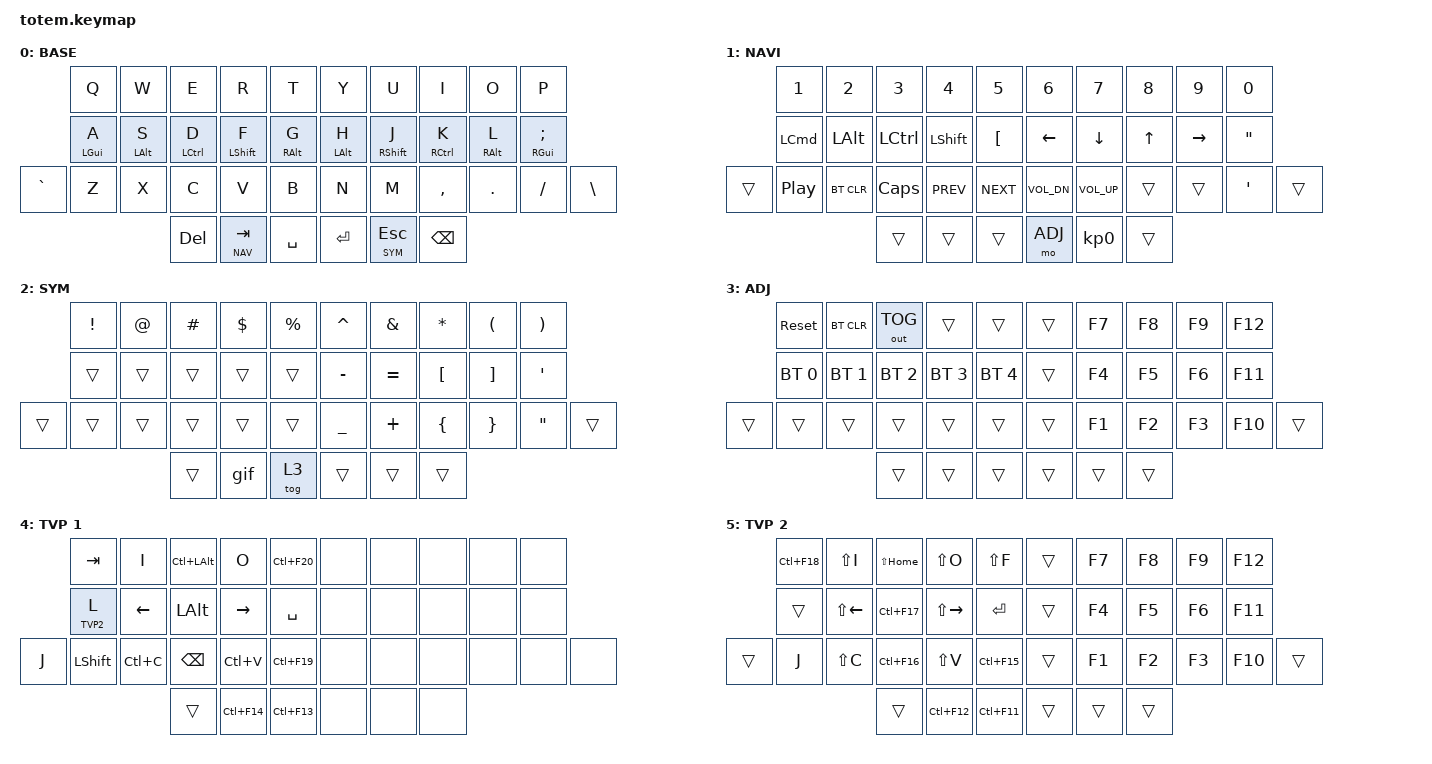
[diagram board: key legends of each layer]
//
//                                                        ▀▀▀▀▀     ▀▀▀▀▀          ▀▀█▀▀
//                                                        ▄▀▀▀▄  ▄  ▄▀▀▀▄  ▄  ▄▀▀▀▄  █  ▄▀▀▀▄
//                                                        █   █  █  █   █  █  █   █  █  █   █
//                                                         ▀▀▀   █   ▀▀▀   █   ▀▀▀   ▀   ▀▀▀
//                                                               █      ▄▄▄█▄▄▄    █   █  
//                                                               ▀      █  █  █     █▄█
//                                                             ▀▀▀▀▀    █  █  █      ▀
//                                                                      ▀  ▀  ▀
//
// ▄▄▄▄▄▄▄▄▄▄▄▄▄▄▄▄▄▄▄▄▄▄▄▄▄▄▄▄▄▄▄▄▄▄▄▄▄▄▄▄▄▄▄▄▄▄▄▄▄▄▄▄▄▄▄▄▄▄▄▄▄▄▄▄▄▄▄▄▄▄▄▄▄▄▄▄▄▄▄▄▄▄▄▄▄▄▄▄▄▄▄▄▄▄▄▄▄▄▄▄▄▄▄▄▄▄▄▄▄▄▄▄▄▄▄▄▄▄▄▄▄▄▄▄▄▄▄▄▄▄▄▄▄▄▄▄▄▄▄▄▄▄▄▄▄▄▄▄▄

#include <behaviors.dtsi>
#include <dt-bindings/zmk/bt.h>
#include <dt-bindings/zmk/keys.h>
#include <dt-bindings/zmk/outputs.h>

#define BASE 0
#define NAV  1
#define SYM  2
#define ADJ  3
#define TVP1 4
#define TVP2 5

&mt {
    quick-tap-ms = <0>;
    global-quick-tap;
    flavor = "tap-preferred";
    tapping-term-ms = <250>;
};

/ {
    combos {
        compatible = "zmk,combos";

        combo_esc {
            timeout-ms = <50>;
            key-positions = <0 1>;
            bindings = <&kp ESC>;
        };

        tvp {
            timeout-ms = <100>;
            key-positions = <11 12 13>;
            bindings = <&tog TVP1>;
        };

        tvp2 {
            bindings = <&tog 5>;
            key-positions = <16 17 18>;
            timeout-ms = <100>;
        };
    };

    macros {
        gif: gif {
            label = "giphy";
            compatible = "zmk,behavior-macro";
            #binding-cells = <0>;
            bindings =
                <&macro_press>,
                <&kp LSHFT>,
                <&macro_tap>,
                <&kp N2>,
                <&macro_release>,
                <&kp LSHFT>,
                <&macro_tap>,
                <&kp G &kp I &kp F>;
        };
    };

    keymap {
        compatible = "zmk,keymap";

        // ▄▄▄▄▄▄▄▄▄▄▄▄▄▄▄▄▄▄▄▄▄▄▄▄▄▄▄▄▄▄▄▄▄▄▄▄▄▄▄▄▄▄▄▄▄▄▄▄▄▄▄▄▄▄▄▄▄▄▄▄▄▄▄▄▄▄▄▄▄▄▄▄▄▄▄▄▄▄▄▄▄▄▄▄▄▄▄▄▄▄▄▄▄▄▄▄▄▄▄▄▄▄▄▄▄▄▄▄▄▄▄▄▄▄▄▄▄▄▄▄▄▄▄▄▄▄▄▄▄▄▄▄▄▄▄▄▄▄▄▄▄▄▄▄▄▄▄▄▄

        base_layer {
            // ┏━━━━━━━━━━━━━━━━━━━━━━━━━━━━━━━━━━━━━━━┓

            label = "BASE";

            // ┗━━━━━━━━━━━━━━━━━━━━━━━━━━━━━━━━━━━━━━━┛
            //             ┏━━━━━━━━━━━┳━━━━━━━━━━━┳━━━━━━━━━━━┳━━━━━━━━━━━┳━━━━━━━━━━━┓   ┏━━━━━━━━━━━┳━━━━━━━━━━━┳━━━━━━━━━━━┳━━━━━━━━━━━┳━━━━━━━━━━━┓
            //             ┃     Q     ┃     W     ┃     E     ┃     R     ┃     T     ┃   ┃     Y     ┃     U     ┃     I     ┃     O     ┃     P     ┃
            //             ┣━━━━━━━━━━━╋━━━━━━━━━━━╋━━━━━━━━━━━╋━━━━━━━━━━━╋━━━━━━━━━━━┫   ┣━━━━━━━━━━━╋━━━━━━━━━━━╋━━━━━━━━━━━╋━━━━━━━━━━━╋━━━━━━━━━━━┫
            //             ┃     A     ┃     s     ┃     D     ┃     F     ┃     G     ┃   ┃     H     ┃     J     ┃     K     ┃     L     ┃     ;     ┃
            // ┏━━━━━━━━━━━╋━━━━━━━━━━━╋━━━━━━━━━━━╋━━━━━━━━━━━╋━━━━━━━━━━━╋━━━━━━━━━━━┫   ┣━━━━━━━━━━━╋━━━━━━━━━━━╋━━━━━━━━━━━╋━━━━━━━━━━━╋━━━━━━━━━━━╋━━━━━━━━━━━┓
            // ┃     Q     ┃     Z     ┃     X     ┃     C     ┃     V     ┃     B     ┃   ┃     N     ┃     M     ┃     ,     ┃     .     ┃     /     ┃     \     ┃
            // ┗━━━━━━━━━━━┻━━━━━━━━━━━┻━━━━━━━━━━━╋━━━━━━━━━━━╋━━━━━━━━━━━╋━━━━━━━━━━━┫   ┣━━━━━━━━━━━╋━━━━━━━━━━━╋━━━━━━━━━━━╋━━━━━━━━━━━┻━━━━━━━━━━━┻━━━━━━━━━━━┛
            //                                     ┃    DEL    ┃    TAB    ┃    SPC    ┃   ┃   ENTER   ┃           ┃   BSPC    ┃
            //                                     ┗━━━━━━━━━━━┻━━━━━━━━━━━┻━━━━━━━━━━━┛   ┗━━━━━━━━━━━┻━━━━━━━━━━━┻━━━━━━━━━━━┛

            bindings = <
           &kp Q       &kp W       &kp E        &kp R        &kp T              &kp Y           &kp U        &kp I        &kp O       &kp P
           &mt LGUI A  &mt LALT S  &mt LCTRL D  &mt LSHFT F  &mt RIGHT_ALT G    &mt LEFT_ALT H  &mt RSHFT J  &mt RCTRL K  &mt RALT L  &mt RGUI SEMI
&kp GRAVE  &kp Z       &kp X       &kp C        &kp V        &kp B              &kp N           &kp M        &kp COMMA    &kp DOT     &kp FSLH       &kp BSLH
                                   &kp DEL      &lt NAV TAB  &kp SPACE          &kp RET         &lt SYM ESC  &kp BSPC
            >;
        };

        // ▄▄▄▄▄▄▄▄▄▄▄▄▄▄▄▄▄▄▄▄▄▄▄▄▄▄▄▄▄▄▄▄▄▄▄▄▄▄▄▄▄▄▄▄▄▄▄▄▄▄▄▄▄▄▄▄▄▄▄▄▄▄▄▄▄▄▄▄▄▄▄▄▄▄▄▄▄▄▄▄▄▄▄▄▄▄▄▄▄▄▄▄▄▄▄▄▄▄▄▄▄▄▄▄▄▄▄▄▄▄▄▄▄▄▄▄▄▄▄▄▄▄▄▄▄▄▄▄▄▄▄▄▄▄▄▄▄▄▄▄▄▄▄▄▄▄▄▄▄

        nav_layer {
            // ┏━━━━━━━━━━━━━━━━━━━━━━━━━━━━━━━━━━━━━━━┓

            label = "NAVI";

            // ┗━━━━━━━━━━━━━━━━━━━━━━━━━━━━━━━━━━━━━━━┛
            //             ┏━━━━━━━━━━━┳━━━━━━━━━━━┳━━━━━━━━━━━┳━━━━━━━━━━━┳━━━━━━━━━━━┓   ┏━━━━━━━━━━━┳━━━━━━━━━━━┳━━━━━━━━━━━┳━━━━━━━━━━━┳━━━━━━━━━━━┓
            //             ┃    ESC    ┃     _     ┃     UP    ┃     =     ┃     {     ┃   ┃     }     ┃     7     ┃     8     ┃     9     ┃     +     ┃
            //             ┣━━━━━━━━━━━╋━━━━━━━━━━━╋━━━━━━━━━━━╋━━━━━━━━━━━╋━━━━━━━━━━━┫   ┣━━━━━━━━━━━╋━━━━━━━━━━━╋━━━━━━━━━━━╋━━━━━━━━━━━╋━━━━━━━━━━━┫
            //             ┃   SHIFT   ┃   LEFT    ┃    DOWN   ┃   RIGHT   ┃     [     ┃   ┃     ]     ┃     4     ┃     5     ┃     6     ┃     -     ┃
            // ┏━━━━━━━━━━━╋━━━━━━━━━━━╋━━━━━━━━━━━╋━━━━━━━━━━━╋━━━━━━━━━━━╋━━━━━━━━━━━┫   ┣━━━━━━━━━━━╋━━━━━━━━━━━╋━━━━━━━━━━━╋━━━━━━━━━━━╋━━━━━━━━━━━╋━━━━━━━━━━━┓
            // ┃           ┃    DEL    ┃   P UP    ┃  C LOCK   ┃  P DOWN   ┃     (     ┃   ┃     )     ┃     1     ┃     2     ┃     3     ┃     *     ┃           ┃
            // ┗━━━━━━━━━━━┻━━━━━━━━━━━┻━━━━━━━━━━━╋━━━━━━━━━━━╋━━━━━━━━━━━╋━━━━━━━━━━━┫   ┣━━━━━━━━━━━╋━━━━━━━━━━━╋━━━━━━━━━━━╋━━━━━━━━━━━┻━━━━━━━━━━━┻━━━━━━━━━━━┛
            //                                     ┃           ┃    TAB    ┃    SPC    ┃   ┃    DEL    ┃     0     ┃           ┃
            //                                     ┗━━━━━━━━━━━┻━━━━━━━━━━━┻━━━━━━━━━━━┛   ┗━━━━━━━━━━━┻━━━━━━━━━━━┻━━━━━━━━━━━┛

            bindings = <
        &kp N1    &kp N2      &kp N3     &kp N4      &kp N5        &kp N6        &kp N7        &kp N8  &kp N9     &kp N0
        &kp LCMD  &kp LALT    &kp LCTRL  &kp LSHFT   &kp LBKT      &kp LEFT      &kp DOWN      &kp UP  &kp RIGHT  &kp DQT
&trans  &kp C_PP  &bt BT_CLR  &kp CAPS   &kp C_PREV  &kp C_NEXT    &kp C_VOL_DN  &kp C_VOL_UP  &trans  &trans     &kp APOS  &trans
                              &trans     &trans      &trans        &mo ADJ       &kp KP_N0     &trans
            >;
        };

        // ▄▄▄▄▄▄▄▄▄▄▄▄▄▄▄▄▄▄▄▄▄▄▄▄▄▄▄▄▄▄▄▄▄▄▄▄▄▄▄▄▄▄▄▄▄▄▄▄▄▄▄▄▄▄▄▄▄▄▄▄▄▄▄▄▄▄▄▄▄▄▄▄▄▄▄▄▄▄▄▄▄▄▄▄▄▄▄▄▄▄▄▄▄▄▄▄▄▄▄▄▄▄▄▄▄▄▄▄▄▄▄▄▄▄▄▄▄▄▄▄▄▄▄▄▄▄▄▄▄▄▄▄▄▄▄▄▄▄▄▄▄▄▄▄▄▄▄▄▄

        sim_layer {
            // ┏━━━━━━━━━━━━━━━━━━━━━━━━━━━━━━━━━━━━━━━┓

            label = "SYM";

            // ┗━━━━━━━━━━━━━━━━━━━━━━━━━━━━━━━━━━━━━━━┛
            //             ┏━━━━━━━━━━━┳━━━━━━━━━━━┳━━━━━━━━━━━┳━━━━━━━━━━━┳━━━━━━━━━━━┓   ┏━━━━━━━━━━━┳━━━━━━━━━━━┳━━━━━━━━━━━┳━━━━━━━━━━━┳━━━━━━━━━━━┓
            //             ┃     !     ┃     @     ┃     #     ┃     $     ┃     %     ┃   ┃     ˆ     ┃     &     ┃     Ü     ┃     '     ┃     "     ┃
            //             ┣━━━━━━━━━━━╋━━━━━━━━━━━╋━━━━━━━━━━━╋━━━━━━━━━━━╋━━━━━━━━━━━┫   ┣━━━━━━━━━━━╋━━━━━━━━━━━╋━━━━━━━━━━━╋━━━━━━━━━━━╋━━━━━━━━━━━┫
            //             ┃     Ä     ┃           ┃    SZ     ┃           ┃           ┃   ┃   MUTE    ┃   YEN     ┃   EURO    ┃  POUND    ┃     Ö     ┃
            // ┏━━━━━━━━━━━╋━━━━━━━━━━━╋━━━━━━━━━━━╋━━━━━━━━━━━╋━━━━━━━━━━━╋━━━━━━━━━━━┫   ┣━━━━━━━━━━━╋━━━━━━━━━━━╋━━━━━━━━━━━╋━━━━━━━━━━━╋━━━━━━━━━━━╋━━━━━━━━━━━┓
            // ┃           ┃  EMAIL1   ┃  EMAIL2   ┃           ┃           ┃           ┃   ┃   VOL-    ┃   VOL+    ┃   LAST    ┃   NEXT    ┃     \     ┃           ┃
            // ┗━━━━━━━━━━━┻━━━━━━━━━━━┻━━━━━━━━━━━╋━━━━━━━━━━━╋━━━━━━━━━━━╋━━━━━━━━━━━┫   ┣━━━━━━━━━━━╋━━━━━━━━━━━╋━━━━━━━━━━━╋━━━━━━━━━━━┻━━━━━━━━━━━┻━━━━━━━━━━━┛
            //                                     ┃           ┃    GIF    ┃    ADJ    ┃   ┃           ┃           ┃           ┃
            //                                     ┗━━━━━━━━━━━┻━━━━━━━━━━━┻━━━━━━━━━━━┛   ┗━━━━━━━━━━━┻━━━━━━━━━━━┻━━━━━━━━━━━┛

            bindings = <
        &kp EXCL  &kp AT  &kp HASH  &kp DLLR  &kp PRCNT    &kp CARET  &kp AMPS   &kp ASTRK  &kp LPAR  &kp RPAR
        &trans    &trans  &trans    &trans    &trans       &kp MINUS  &kp EQUAL  &kp LBKT   &kp RBKT  &kp SQT
&trans  &trans    &trans  &trans    &trans    &trans       &kp UNDER  &kp PLUS   &kp LBRC   &kp RBRC  &kp DQT   &trans
                          &trans    &gif      &tog 3       &trans     &trans     &trans
            >;
        };

        // ▄▄▄▄▄▄▄▄▄▄▄▄▄▄▄▄▄▄▄▄▄▄▄▄▄▄▄▄▄▄▄▄▄▄▄▄▄▄▄▄▄▄▄▄▄▄▄▄▄▄▄▄▄▄▄▄▄▄▄▄▄▄▄▄▄▄▄▄▄▄▄▄▄▄▄▄▄▄▄▄▄▄▄▄▄▄▄▄▄▄▄▄▄▄▄▄▄▄▄▄▄▄▄▄▄▄▄▄▄▄▄▄▄▄▄▄▄▄▄▄▄▄▄▄▄▄▄▄▄▄▄▄▄▄▄▄▄▄▄▄▄▄▄▄▄▄▄▄▄

        adjust_layer {
            // ┏━━━━━━━━━━━━━━━━━━━━━━━━━━━━━━━━━━━━━━━┓

            label = "ADJ";

            // ┗━━━━━━━━━━━━━━━━━━━━━━━━━━━━━━━━━━━━━━━┛
            //             ┏━━━━━━━━━━━┳━━━━━━━━━━━┳━━━━━━━━━━━┳━━━━━━━━━━━┳━━━━━━━━━━━┓   ┏━━━━━━━━━━━┳━━━━━━━━━━━┳━━━━━━━━━━━┳━━━━━━━━━━━┳━━━━━━━━━━━┓
            //             ┃   RESET   ┃ BT CLEAR  ┃  OUT TOG  ┃           ┃           ┃   ┃           ┃    F7     ┃    F8     ┃    F9     ┃    F12    ┃
            //             ┣━━━━━━━━━━━╋━━━━━━━━━━━╋━━━━━━━━━━━╋━━━━━━━━━━━╋━━━━━━━━━━━┫   ┣━━━━━━━━━━━╋━━━━━━━━━━━╋━━━━━━━━━━━╋━━━━━━━━━━━╋━━━━━━━━━━━┫
            //             ┃ BOOTLOAD  ┃ BT NEXT   ┃           ┃           ┃           ┃   ┃           ┃    F4     ┃    F5     ┃    F6     ┃    F11    ┃
            // ┏━━━━━━━━━━━╋━━━━━━━━━━━╋━━━━━━━━━━━╋━━━━━━━━━━━╋━━━━━━━━━━━╋━━━━━━━━━━━┫   ┣━━━━━━━━━━━╋━━━━━━━━━━━╋━━━━━━━━━━━╋━━━━━━━━━━━╋━━━━━━━━━━━╋━━━━━━━━━━━┓
            // ┃           ┃           ┃ BT PREV   ┃           ┃           ┃           ┃   ┃           ┃    F1     ┃    F2     ┃    F3     ┃    F10    ┃           ┃
            // ┗━━━━━━━━━━━┻━━━━━━━━━━━┻━━━━━━━━━━━╋━━━━━━━━━━━╋━━━━━━━━━━━╋━━━━━━━━━━━┫   ┣━━━━━━━━━━━╋━━━━━━━━━━━╋━━━━━━━━━━━╋━━━━━━━━━━━┻━━━━━━━━━━━┻━━━━━━━━━━━┛
            //                                     ┃           ┃           ┃           ┃   ┃           ┃           ┃           ┃
            //                                     ┗━━━━━━━━━━━┻━━━━━━━━━━━┻━━━━━━━━━━━┛   ┗━━━━━━━━━━━┻━━━━━━━━━━━┻━━━━━━━━━━━┛

            bindings = <
        &sys_reset    &bt BT_CLR    &out OUT_TOG  &trans        &trans          &trans  &kp F7  &kp F8  &kp F9  &kp F12
        &bt BT_SEL 0  &bt BT_SEL 1  &bt BT_SEL 2  &bt BT_SEL 3  &bt BT_SEL 4    &trans  &kp F4  &kp F5  &kp F6  &kp F11
&trans  &trans        &trans        &trans        &trans        &trans          &trans  &kp F1  &kp F2  &kp F3  &kp F10  &trans
                                    &trans        &trans        &trans          &trans  &trans  &trans
            >;
        };

        // ▄▄▄▄▄▄▄▄▄▄▄▄▄▄▄▄▄▄▄▄▄▄▄▄▄▄▄▄▄▄▄▄▄▄▄▄▄▄▄▄▄▄▄▄▄▄▄▄▄▄▄▄▄▄▄▄▄▄▄▄▄▄▄▄▄▄▄▄▄▄▄▄▄▄▄▄▄▄▄▄▄▄▄▄▄▄▄▄▄▄▄▄▄▄▄▄▄▄▄▄▄▄▄▄▄▄▄▄▄▄▄▄▄▄▄▄▄▄▄▄▄▄▄▄▄▄▄▄▄▄▄▄▄▄▄▄▄▄▄▄▄▄▄▄▄▄▄▄▄

        tvp1_layer {
            // ┏━━━━━━━━━━━━━━━━━━━━━━━━━━━━━━━━━━━━━━━┓

            label = "TVP 1";

            // ┗━━━━━━━━━━━━━━━━━━━━━━━━━━━━━━━━━━━━━━━┛
            //             ┏━━━━━━━━━━━┳━━━━━━━━━━━┳━━━━━━━━━━━┳━━━━━━━━━━━┳━━━━━━━━━━━┓   ┏━━━━━━━━━━━┳━━━━━━━━━━━┳━━━━━━━━━━━┳━━━━━━━━━━━┳━━━━━━━━━━━┓
            //             ┃ NEXT FILE ┃ MARK IN   ┃ ROTATE    ┃ MARK OUT  ┃ SHOW SNAP ┃   ┃           ┃           ┃           ┃           ┃           ┃
            //             ┣━━━━━━━━━━━╋━━━━━━━━━━━╋━━━━━━━━━━━╋━━━━━━━━━━━╋━━━━━━━━━━━┫   ┣━━━━━━━━━━━╋━━━━━━━━━━━╋━━━━━━━━━━━╋━━━━━━━━━━━╋━━━━━━━━━━━┫
            //             ┃ TVP II    ┃ LEFT      ┃ PAN       ┃ RIGHT     ┃ PLAY/FLIP ┃   ┃           ┃           ┃           ┃           ┃           ┃
            // ┏━━━━━━━━━━━╋━━━━━━━━━━━╋━━━━━━━━━━━╋━━━━━━━━━━━╋━━━━━━━━━━━╋━━━━━━━━━━━┫   ┣━━━━━━━━━━━╋━━━━━━━━━━━╋━━━━━━━━━━━╋━━━━━━━━━━━╋━━━━━━━━━━━╋━━━━━━━━━━━┓
            // ┃ FULLSCR   ┃ SHIFT     ┃ COPY      ┃ DELETE    ┃ PASTE     ┃ IMG MARK  ┃   ┃           ┃           ┃           ┃           ┃           ┃           ┃
            // ┗━━━━━━━━━━━┻━━━━━━━━━━━┻━━━━━━━━━━━╋━━━━━━━━━━━╋━━━━━━━━━━━╋━━━━━━━━━━━┫   ┣━━━━━━━━━━━╋━━━━━━━━━━━╋━━━━━━━━━━━╋━━━━━━━━━━━┻━━━━━━━━━━━┻━━━━━━━━━━━┛
            //                                     ┃           ┃ UNDO/SAVE ┃  SEL/MOV  ┃   ┃           ┃           ┃           ┃
            //                                     ┗━━━━━━━━━━━┻━━━━━━━━━━━┻━━━━━━━━━━━┛   ┗━━━━━━━━━━━┻━━━━━━━━━━━┻━━━━━━━━━━━┛

            bindings = <
       &kp TAB     &kp I      &kp LC(LALT)  &kp O        &kp LC(F20)    &none  &none  &none  &none  &none
       &lt TVP2 L  &kp LEFT   &kp LALT      &kp RIGHT    &kp SPACE      &none  &none  &none  &none  &none
&kp J  &kp LSHFT   &kp LC(C)  &kp BSPC      &kp LC(V)    &kp LC(F19)    &none  &none  &none  &none  &none  &none
                              &trans        &kp LC(F14)  &kp LC(F13)    &none  &none  &none
            >;
        };

        // ▄▄▄▄▄▄▄▄▄▄▄▄▄▄▄▄▄▄▄▄▄▄▄▄▄▄▄▄▄▄▄▄▄▄▄▄▄▄▄▄▄▄▄▄▄▄▄▄▄▄▄▄▄▄▄▄▄▄▄▄▄▄▄▄▄▄▄▄▄▄▄▄▄▄▄▄▄▄▄▄▄▄▄▄▄▄▄▄▄▄▄▄▄▄▄▄▄▄▄▄▄▄▄▄▄▄▄▄▄▄▄▄▄▄▄▄▄▄▄▄▄▄▄▄▄▄▄▄▄▄▄▄▄▄▄▄▄▄▄▄▄▄▄▄▄▄▄▄▄

        tvp2_layer {
            // ┏━━━━━━━━━━━━━━━━━━━━━━━━━━━━━━━━━━━━━━━┓

            label = "TVP 2";

            // ┗━━━━━━━━━━━━━━━━━━━━━━━━━━━━━━━━━━━━━━━┛
            //             ┏━━━━━━━━━━━┳━━━━━━━━━━━┳━━━━━━━━━━━┳━━━━━━━━━━━┳━━━━━━━━━━━┓   ┏━━━━━━━━━━━┳━━━━━━━━━━━┳━━━━━━━━━━━┳━━━━━━━━━━━┳━━━━━━━━━━━┓
            //             ┃ SOLO      ┃ TOGGLE IN ┃ RESET ROT ┃ TOGGLE OUT┃ TAKE SNAP ┃   ┃           ┃           ┃           ┃           ┃           ┃
            //             ┣━━━━━━━━━━━╋━━━━━━━━━━━╋━━━━━━━━━━━╋━━━━━━━━━━━╋━━━━━━━━━━━┫   ┣━━━━━━━━━━━╋━━━━━━━━━━━╋━━━━━━━━━━━╋━━━━━━━━━━━╋━━━━━━━━━━━┫
            //             ┃ ---       ┃ LAST KEY  ┃ NEW KEY   ┃ NEXT KEY  ┃ ENTER     ┃   ┃           ┃           ┃           ┃           ┃           ┃
            // ┏━━━━━━━━━━━╋━━━━━━━━━━━╋━━━━━━━━━━━╋━━━━━━━━━━━╋━━━━━━━━━━━╋━━━━━━━━━━━┫   ┣━━━━━━━━━━━╋━━━━━━━━━━━╋━━━━━━━━━━━╋━━━━━━━━━━━╋━━━━━━━━━━━╋━━━━━━━━━━━┓
            // ┃           ┃ FULLSCR   ┃ CPY2BRUSH ┃ DEL HEAD  ┃ PSTinPLACE┃ BOOK MARK ┃   ┃           ┃           ┃           ┃           ┃           ┃           ┃
            // ┗━━━━━━━━━━━┻━━━━━━━━━━━┻━━━━━━━━━━━╋━━━━━━━━━━━╋━━━━━━━━━━━╋━━━━━━━━━━━┫   ┣━━━━━━━━━━━╋━━━━━━━━━━━╋━━━━━━━━━━━╋━━━━━━━━━━━┻━━━━━━━━━━━┻━━━━━━━━━━━┛
            //                                     ┃           ┃ REDO/SAV1 ┃TRANS/WARP ┃   ┃           ┃           ┃           ┃
            //                                     ┗━━━━━━━━━━━┻━━━━━━━━━━━┻━━━━━━━━━━━┛   ┗━━━━━━━━━━━┻━━━━━━━━━━━┻━━━━━━━━━━━┛

            bindings = <
        &kp LC(F18)  &kp LS(I)     &kp LS(HOME)  &kp LS(O)      &kp LS(F)      &trans  &kp F7  &kp F8  &kp F9  &kp F12
        &trans       &kp LS(LEFT)  &kp LC(F17)   &kp LS(RIGHT)  &kp RET        &trans  &kp F4  &kp F5  &kp F6  &kp F11
&trans  &kp J        &kp LS(C)     &kp LC(F16)   &kp LS(V)      &kp LC(F15)    &trans  &kp F1  &kp F2  &kp F3  &kp F10  &trans
                                   &trans        &kp LC(F12)    &kp LC(F11)    &trans  &trans  &trans
            >;
        };
    };

    conditional_layers { compatible = "zmk,conditional-layers"; };
};
